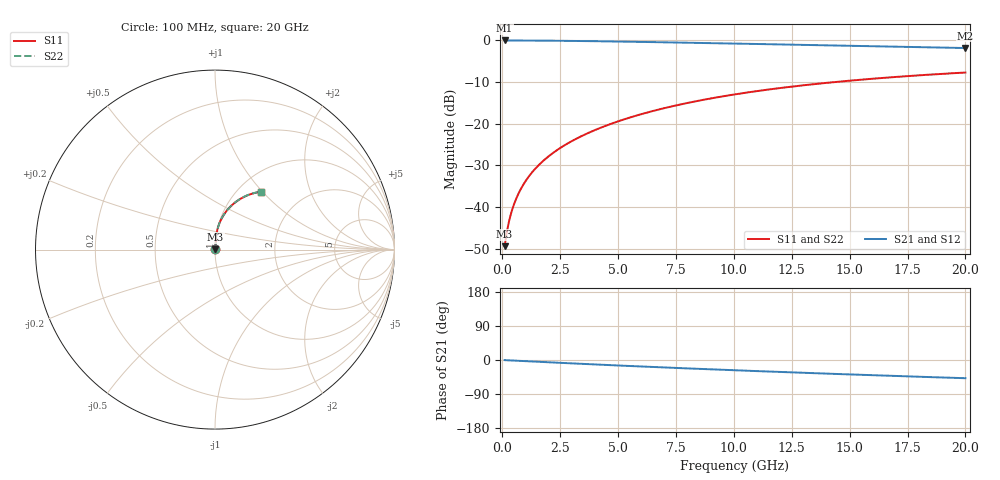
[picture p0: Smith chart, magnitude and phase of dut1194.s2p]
! Touchstone file exported from HFSS 2024.1.0
!  File:  C:/UserFiles/LocalFiles/RDL_TSV_Batchsim/temp_RDL_bottom_1194_1780057747.aedt
!  Generated:  08:31:55 PM May 29, 2026
!  Design:  RDL_bottom
!  Project:  temp_RDL_bottom_1194_1780057747
!  Setup:  Setup1
!  Solution:  Sweep
! Variables:
!  dtsv = 10.80580581um
!  hbump = 3um
!  htsv = 72.73um
!  ldown = 674.1um
!  lrdl = 100um
!  p = 40
!  p1 = 59.76um
!  rhole = 1um
!  t = 450um
!  tdown = 3.92um
!  trdl = 3.915915916um
!  wdown = 25.56um
!  wrdl = 20um
# GHz S MA R 50.000000
! Terminal data exported
! Port[1] = RDL1_T1
! Port[2] = RDL1_T2
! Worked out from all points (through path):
!   200 points, 100 MHz to 20 GHz, reference 50 ohm
!   highest |S21| = -0.02 dB at 100 MHz (marker M1); lowest = -1.8 dB at 20 GHz (marker M2)
!   group delay of S21, straight-line fit = 6.6 ps
!   lowest |S11| = -49.3 dB at 100 MHz (marker M3), VSWR 1.01, Z = 50.3 + j0.223 ohm
!   |S11| at or under -10 dB: start of sweep to 14.35 GHz
!   |S22| runs from -49.3 to -7.7 dB; largest |S21 - S12| = 9.1e-15
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0.1  0.003411 40.6  0.9974 -0.3  0.9974 -0.3  0.003411 40.6
! Gamma 0 0 0 0
! Port Impedance 50 0 50 0
0.2  0.005125 57.5  0.9972 -0.6  0.9972 -0.6  0.005125 57.5
0.3  0.006967 65.4  0.997 -0.9  0.997 -0.9  0.006966 65.4
0.4  0.008836 70.1  0.9968 -1.2  0.9968 -1.2  0.008836 70.1
0.5  0.01073 73.3  0.9966 -1.5  0.9966 -1.5  0.01073 73.3
0.6  0.01264 75.6  0.9964 -1.8  0.9964 -1.8  0.01264 75.6
0.8  0.01652 78.8  0.9959 -2.4  0.9959 -2.4  0.01652 78.8
1.1  0.02245 81.5  0.9951 -3.3  0.9951 -3.3  0.02245 81.5
1.5  0.03049 83.4  0.9937 -4.5  0.9937 -4.5  0.0305 83.4
1.8  0.03662 84.2  0.9924 -5.4  0.9924 -5.4  0.03663 84.2
2.1  0.04283 84.7  0.9908 -6.3  0.9908 -6.3  0.04284 84.7
2.7  0.0555 85.2  0.9872 -8.1  0.9872 -8.1  0.05551 85.2
3.5  0.0729 85.1  0.9814 -10.4  0.9814 -10.4  0.07292 85.1
4.2  0.08858 84.5  0.9755 -12.3  0.9755 -12.3  0.08861 84.6
5  0.1069 83.6  0.9681 -14.5  0.9681 -14.5  0.107 83.6
6.8  0.1493 80.4  0.95 -19.2  0.95 -19.2  0.1494 80.5
8.4  0.1872 77.1  0.933 -23.2  0.933 -23.2  0.1873 77.1
10.1  0.2264 73.2  0.9145 -27.2  0.9145 -27.2  0.2266 73.2
11.7  0.2619 69.5  0.8971 -30.9  0.8971 -30.9  0.2621 69.5
13.4  0.2974 65.5  0.8786 -34.6  0.8786 -34.6  0.2976 65.6
16.7  0.3593 58.3  0.8432 -41.6  0.8432 -41.6  0.3596 58.3
20  0.4116 51.5  0.8092 -48.1  0.8092 -48.1  0.4119 51.6
